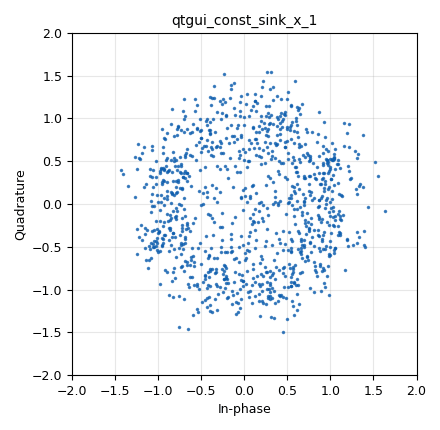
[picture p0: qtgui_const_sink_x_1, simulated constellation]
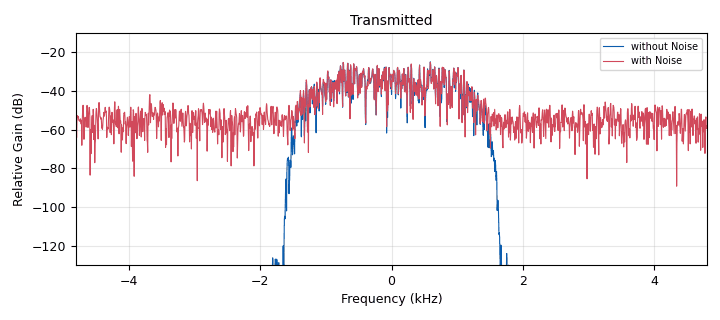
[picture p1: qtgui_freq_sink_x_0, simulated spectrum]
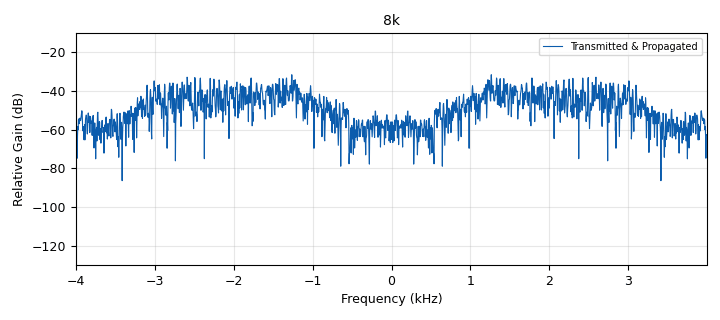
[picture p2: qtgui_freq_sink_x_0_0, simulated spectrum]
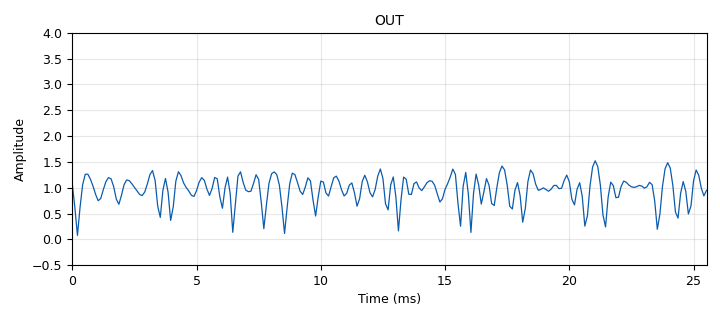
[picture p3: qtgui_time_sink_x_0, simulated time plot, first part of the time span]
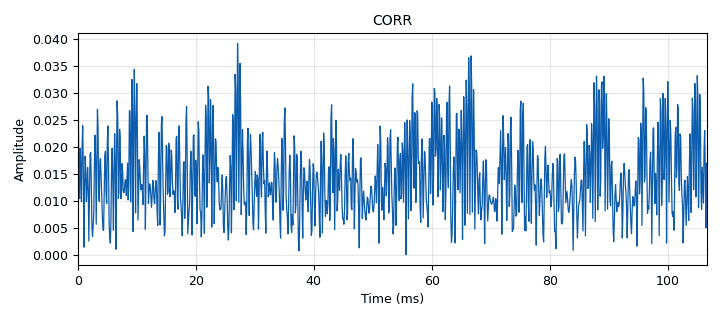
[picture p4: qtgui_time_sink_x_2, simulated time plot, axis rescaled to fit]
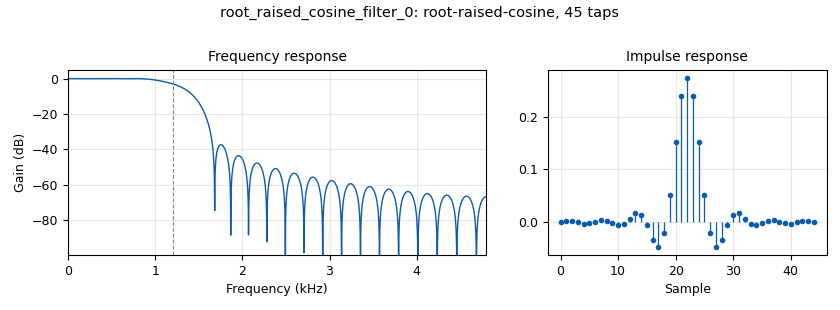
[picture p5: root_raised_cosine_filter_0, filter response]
options:
  parameters:
    author: Barry Duggan, modified by Gary Schafer
    category: Custom
    generate_options: qt_gui
    id: qpsk_stage5_ver3
    output_language: python
    title: QPSK Modulator / Demodulator (modem)
  states: {}

blocks:
- name: epsilon
  id: variable_qtgui_range
  parameters:
    comment: |-
      Sets timing difference
      between transmitter
      and receiver due to
      variations in clocks.
      1.0005
    gui_hint: 0,10,1,10
    label: 'Channel: Timing Offset'
    orient: Qt.Horizontal
    start: '0.999'
    step: '0.0001'
    stop: '1.001'
    value: '1.000'
  states: {}
- name: excess_bw
  id: variable
  parameters:
    value: '0.35'
  states: {}
- name: freq_offset
  id: variable_qtgui_range
  parameters:
    comment: |-
      This accounts for differences
      in local oscillators as well as
      static Doppler shift.

      0.01
    gui_hint: 1,0,1,10
    label: 'Channel: Frequency Offset'
    orient: Qt.Horizontal
    start: '-0.1'
    step: '0.001'
    stop: '0.1'
    value: '0.0'
  states: {}
- name: modulated_sync_word
  id: variable_modulate_vector
  parameters:
    data: preamble
    mod: rxmod
    taps: '[1]'
  states: {}
- name: noise_volt
  id: variable_qtgui_range
  parameters:
    comment: |-
      Sets noise level of added
      Gaussian white noise (AWGN)
      added during transmission
      as well as antenna noise and
      LNA of receiver.
    gui_hint: 0,0,1,10
    label: 'Channel: Noise Voltage'
    orient: Qt.Horizontal
    start: '0'
    step: '0.01'
    stop: '1'
    value: '0.19'
  states: {}
- name: preamble
  id: variable
  parameters:
    comment: |-
      [0xac, 0xdd, 0xa4, 0xe2, 0xf2, 0x8c, 0x20, 0xfc]
      [0xAA,0xAA,0xAA,0xAA,0xAA,0xAA]
    value: '[0xac, 0xdd, 0xa4, 0xe2, 0xf2, 0x8c, 0x20, 0xfc]'
  states: {}
- name: psk8
  id: variable_constellation
  parameters:
    const_points: |-
      [ 0.92387953+0.38268343j,  0.38268343+0.92387953j,
             -0.38268343+0.92387953j, -0.92387953+0.38268343j,
             -0.92387953-0.38268343j, -0.38268343-0.92387953j,
              0.38268343-0.92387953j,  0.92387953-0.38268343j]
    precision: '4'
    sym_map: '[0, 1, 2, 3, 4, 5, 6, 7]'
    type: 8psk
  states: {}
- name: rxmod
  id: variable
  parameters:
    comment: |-
      digital.generic_mod(constellation, differential, samples_per_symbol,
                              pre_diff_code, excess_bw, verbose, log) 

      generic_demod(constellation, differential=differential,
                                        freq_bw=FREQ_BW,
                                        phase_bw=PHASE_BW)
    value: digital.generic_mod(psk8, False, sps, False, excess_bw, False, False)
  states: {}
- name: samp_rate
  id: variable
  parameters:
    value: '9600'
  states: {}
- name: sps
  id: variable
  parameters:
    value: '4'
  states: {}
- name: analog_random_source_x_0
  id: analog_random_source_x
  parameters:
    max: '256'
    min: '0'
    num_samps: '32'
    repeat: 'True'
    type: byte
  states: {}
- name: blocks_complex_to_float_0
  id: blocks_complex_to_float
  parameters: {}
  states: {state: disabled}
- name: blocks_complex_to_mag_0
  id: blocks_complex_to_mag
  parameters: {}
  states: {}
- name: blocks_complex_to_mag_0_0
  id: blocks_complex_to_mag
  parameters: {}
  states: {}
- name: blocks_complex_to_real_0
  id: blocks_complex_to_real
  parameters: {}
  states: {}
- name: blocks_endian_swap_0
  id: blocks_endian_swap
  parameters:
    type: s16
  states: {}
- name: blocks_file_sink_0
  id: blocks_file_sink
  parameters:
    file: /home/hyun/8psk_9.6k.cplx64.pcm
    type: complex
    unbuffered: 'True'
  states: {}
- name: blocks_file_sink_0_0
  id: blocks_file_sink
  parameters:
    file: /home/hyun/psk8_8k_16t.pcm
    type: short
    unbuffered: 'True'
  states: {}
- name: blocks_float_to_complex_0
  id: blocks_float_to_complex
  parameters: {}
  states: {}
- name: blocks_float_to_short_0
  id: blocks_float_to_short
  parameters:
    comment: scale is factor
    scale: '30000'
  states: {}
- name: blocks_null_sink_1
  id: blocks_null_sink
  parameters:
    type: complex
  states: {}
- name: blocks_rotator_cc_0
  id: blocks_rotator_cc
  parameters:
    comment: shift +2KHz
    phase_inc: 2000*(2*math.pi/samp_rate)
  states: {}
- name: blocks_short_to_float_0
  id: blocks_short_to_float
  parameters:
    scale: '32000'
  states: {}
- name: blocks_stream_mux_0_0
  id: blocks_stream_mux
  parameters:
    lengths: (8,32)
    type: byte
  states: {}
- name: blocks_throttle_0
  id: blocks_throttle
  parameters:
    samples_per_second: samp_rate
    type: complex
  states: {}
- name: blocks_vector_source_x_0
  id: blocks_vector_source_x
  parameters:
    comment: +[0xde,0xad,0xbe,0xef]
    repeat: 'True'
    type: byte
    vector: 'preamble '
  states: {}
- name: channels_channel_model_0
  id: channels_channel_model
  parameters:
    comment: Epsilon is timing offset
    epsilon: epsilon
    freq_offset: freq_offset
    noise_voltage: noise_volt
    seed: '0'
    taps: '1'
  states: {}
- name: digital_constellation_modulator_0
  id: digital_constellation_modulator
  parameters:
    constellation: psk8
    differential: 'False'
    excess_bw: excess_bw
    samples_per_symbol: sps
  states: {}
- name: digital_corr_est_cc_0
  id: digital_corr_est_cc
  parameters:
    mark_delay: '0'
    sps: sps
    symbols: modulated_sync_word
    threshold: '0.0'
    threshold_method: digital.THRESHOLD_ABSOLUTE
  states: {}
- name: import_0
  id: import
  parameters:
    imports: import math
  states: {}
- name: mmse_resampler_xx_0
  id: mmse_resampler_xx
  parameters:
    phase_shift: '0'
    resamp_ratio: 9600./8000
    type: complex
  states: {}
- name: qtgui_const_sink_x_1
  id: qtgui_const_sink_x
  parameters:
    marker1: '-1'
    size: '1024'
    style1: '1'
    type: complex
  states: {}
- name: qtgui_freq_sink_x_0
  id: qtgui_freq_sink_x
  parameters:
    bw: samp_rate
    comment: 9.6k
    fc: '0'
    fftsize: '2048'
    gui_hint: 12,0,10,20
    label1: without Noise
    label2: with Noise
    name: 'Transmitted  '
    nconnections: '2'
    type: complex
    wintype: firdes.WIN_BLACKMAN_hARRIS
    ymax: '-10'
    ymin: '-130'
  states: {}
- name: qtgui_freq_sink_x_0_0
  id: qtgui_freq_sink_x
  parameters:
    bw: '8000'
    comment: 8k
    fc: '0'
    fftsize: '2048'
    gui_hint: 32,0,10,20
    label1: Transmitted & Propagated
    name: 8k
    type: complex
    wintype: firdes.WIN_BLACKMAN_hARRIS
    ymax: '-10'
    ymin: '-130'
  states: {}
- name: qtgui_time_sink_x_0
  id: qtgui_time_sink_x
  parameters:
    affinity: '0'
    entags: 'False'
    gui_hint: 50,0,1,20
    label1: ''
    name: '"OUT"'
    size: 1024*6
    srate: samp_rate
    tr_delay: '0.1'
    tr_level: '1'
    tr_tag: time_est
    type: float
    ymax: '4'
    ymin: '-0.5'
  states: {}
- name: qtgui_time_sink_x_1
  id: qtgui_time_sink_x
  parameters:
    gui_hint: 30,0,1,20
    label1: '|corr|^2'
    label2: Re{corr}
    label3: Im{corr}
    name: ''
    nconnections: '3'
    size: '80000'
    srate: samp_rate
    tr_level: '100'
    type: float
    ymax: '400'
    ymin: '-200'
  states: {state: disabled}
- name: qtgui_time_sink_x_2
  id: qtgui_time_sink_x
  parameters:
    entags: 'False'
    name: '"CORR"'
    size: '1024'
    srate: samp_rate
    type: float
    ymax: '8'
  states: {}
- name: qtgui_time_sink_x_3
  id: qtgui_time_sink_x
  parameters:
    entags: 'False'
    nconnections: '2'
    size: '1024'
    srate: samp_rate
    type: complex
  states: {state: disabled}
- name: root_raised_cosine_filter_0
  id: root_raised_cosine_filter
  parameters:
    alpha: excess_bw
    comment: |-
      Symbol Rate: samp_rate/sps
      Alpha: excess_bw
      Num Taps: 11*sps
    decim: '1'
    gain: '1'
    ntaps: 11*sps
    samp_rate: samp_rate
    sym_rate: samp_rate/sps
    type: fir_filter_ccf
  states: {}

connections:
- [analog_random_source_x_0, '0', blocks_stream_mux_0_0, '1']
- [blocks_complex_to_float_0, '0', qtgui_time_sink_x_1, '1']
- [blocks_complex_to_float_0, '1', qtgui_time_sink_x_1, '2']
- [blocks_complex_to_mag_0, '0', qtgui_time_sink_x_0, '0']
- [blocks_complex_to_mag_0, '0', qtgui_time_sink_x_1, '0']
- [blocks_complex_to_mag_0_0, '0', qtgui_time_sink_x_2, '0']
- [blocks_complex_to_real_0, '0', blocks_float_to_short_0, '0']
- [blocks_endian_swap_0, '0', blocks_file_sink_0_0, '0']
- [blocks_float_to_complex_0, '0', blocks_null_sink_1, '0']
- [blocks_float_to_complex_0, '0', qtgui_freq_sink_x_0_0, '0']
- [blocks_float_to_short_0, '0', blocks_endian_swap_0, '0']
- [blocks_float_to_short_0, '0', blocks_short_to_float_0, '0']
- [blocks_rotator_cc_0, '0', mmse_resampler_xx_0, '0']
- [blocks_short_to_float_0, '0', blocks_float_to_complex_0, '0']
- [blocks_stream_mux_0_0, '0', digital_constellation_modulator_0, '0']
- [blocks_throttle_0, '0', digital_corr_est_cc_0, '0']
- [blocks_throttle_0, '0', root_raised_cosine_filter_0, '0']
- [blocks_vector_source_x_0, '0', blocks_stream_mux_0_0, '0']
- [channels_channel_model_0, '0', blocks_file_sink_0, '0']
- [channels_channel_model_0, '0', blocks_rotator_cc_0, '0']
- [channels_channel_model_0, '0', qtgui_const_sink_x_1, '0']
- [channels_channel_model_0, '0', qtgui_freq_sink_x_0, '1']
- [digital_constellation_modulator_0, '0', blocks_throttle_0, '0']
- [digital_corr_est_cc_0, '0', blocks_complex_to_mag_0, '0']
- [digital_corr_est_cc_0, '0', qtgui_time_sink_x_3, '0']
- [digital_corr_est_cc_0, '1', blocks_complex_to_float_0, '0']
- [digital_corr_est_cc_0, '1', blocks_complex_to_mag_0_0, '0']
- [digital_corr_est_cc_0, '1', qtgui_time_sink_x_3, '1']
- [mmse_resampler_xx_0, '0', blocks_complex_to_real_0, '0']
- [root_raised_cosine_filter_0, '0', channels_channel_model_0, '0']
- [root_raised_cosine_filter_0, '0', qtgui_freq_sink_x_0, '0']

metadata:
  file_format: 1
